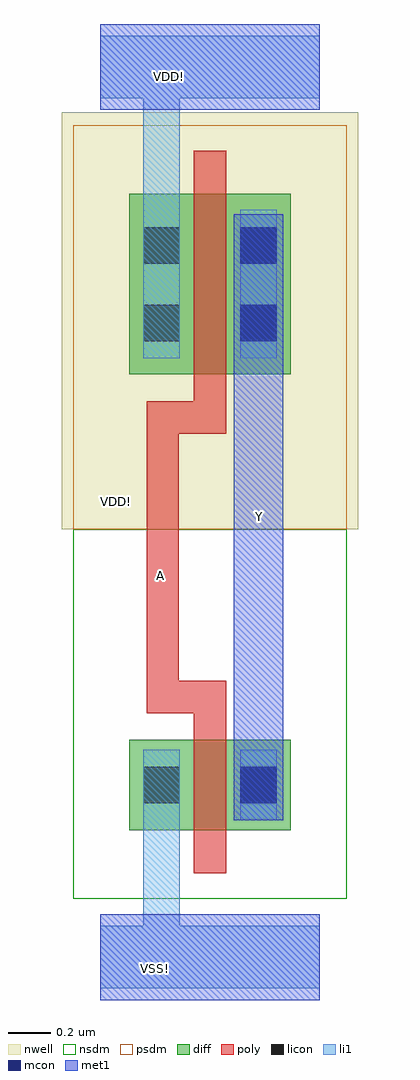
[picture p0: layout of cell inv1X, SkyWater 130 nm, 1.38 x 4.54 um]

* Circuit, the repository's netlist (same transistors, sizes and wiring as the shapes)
** sch_path: /foss/designs/Curso_Semiconductores/inv1X/inv1X.sch
.subckt inv1X Y A VDD! VSS!
*.PININFO A:I Y:O VDD!:B VSS!:B
XM1 Y A VSS! VSS! sky130_fd_pr__nfet_01v8 L=0.15 W=0.42 nf=1
XM2 Y A VDD! VDD! sky130_fd_pr__pfet_01v8 L=0.15 W=0.84 nf=1
.ends

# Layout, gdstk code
import gdstk
lib = gdstk.Library(unit=1e-6, precision=1e-09)
def R(c, l, rs):  # rectangles x0, y0, x1, y1
    for r in rs: c.add(gdstk.rectangle(r[:2], r[2:], *l))
nwell = (64, 20)
diff = (65, 20)
poly = (66, 20)
licon = (66, 44)
li1 = (67, 20)
mcon = (67, 44)
met1 = (68, 20)
nsdm = (93, 44)
psdm = (94, 20)

inv1x = lib.new_cell('inv1X')
R(inv1x, nwell, [(-0.19,-0.01,1.19,1.93)])
R(inv1x, diff, [(0.125,-1.41,0.875,-0.99), (0.125,0.71,0.875,1.55)])
R(inv1x, poly, [(0.425,-1.61,0.575,-0.79), (0.425,0.51,0.575,1.75)])
R(inv1x, licon, [(0.19,-1.285,0.36,-1.115), (0.64,-1.285,0.81,-1.115), (0.19,0.865,0.36,1.035), (0.64,0.865,0.81,1.035), (0.19,1.225,0.36,1.395), (0.64,1.225,0.81,1.395)])
R(inv1x, li1, [(-0.01,-2.145,1.01,-1.855), (0.19,-1.91,0.36,-1.365), (0.19,-1.365,0.36,-1.035), (0.64,-1.365,0.81,-1.035), (0.19,0.785,0.36,1.475), (0.64,0.785,0.81,1.475), (0.19,1.475,0.36,2.02), (-0.01,1.995,1.01,2.285)])
R(inv1x, mcon, [(0.64,-1.285,0.81,-1.115), (0.64,0.865,0.81,1.035), (0.64,1.225,0.81,1.395)])
R(inv1x, met1, [(-0.01,-2.2,1.01,-1.8), (0.61,0.805,0.84,1.455), (-0.01,1.94,1.01,2.34)])
R(inv1x, nsdm, [(-0.135,-1.73,1.135,-0.01), (0,-1.535,1,-0.865)])
R(inv1x, psdm, [(-0.135,-0.01,1.135,1.87), (0,0.585,1,1.675)])
inv1x.add(gdstk.FlexPath([(0.725,0.805),(0.725,-1.365)], 0.23, ends="flush", simple_path=True, layer=68, datatype=20))  # met1
inv1x.add(gdstk.FlexPath([(0.575,-0.79),(0.28,-0.79),(0.28,0.1)], 0.15, ends="flush", simple_path=True, layer=66, datatype=20))  # poly
inv1x.add(gdstk.FlexPath([(0.5,0.51),(0.28,0.51),(0.28,0.1)], 0.15, ends="flush", simple_path=True, layer=66, datatype=20))  # poly
inv1x.add(gdstk.FlexPath([(0.5,0.51),(0.575,0.51)], 0.15, ends="flush", simple_path=True, layer=66, datatype=20))  # poly
inv1x.add(gdstk.Label('VSS!', (0.245,-2.052), layer=67, texttype=5))
inv1x.add(gdstk.Label('VDD!', (0.312,2.096), layer=67, texttype=5))
inv1x.add(gdstk.Label('Y', (0.731,0.049), layer=68, texttype=5))
inv1x.add(gdstk.Label('A', (0.27,-0.226), layer=66, texttype=5))
inv1x.add(gdstk.Label('VDD!', (0.067,0.121), layer=64, texttype=5))

lib.write_gds('inv1X.gds')
